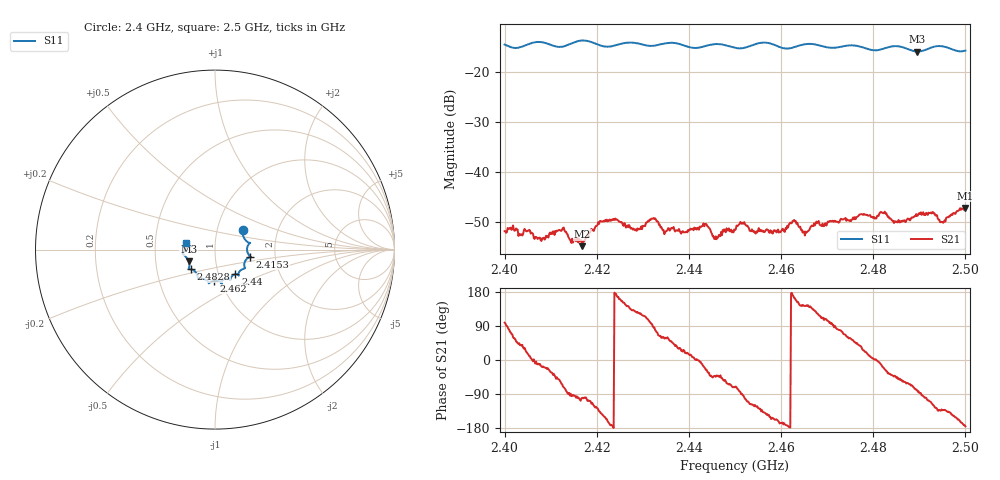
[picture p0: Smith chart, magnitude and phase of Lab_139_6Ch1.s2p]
# Hz S RI R 50
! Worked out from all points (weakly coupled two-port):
!   601 points, 2.4 GHz to 2.5 GHz, reference 50 ohm
!   highest |S21| = -47.11 dB at 2.5 GHz (marker M1); lowest = -54.7 dB at 2.4168 GHz (marker M2)
!   lowest |S11| = -15.9 dB at 2.4895 GHz (marker M3), VSWR 1.38, Z = 37 - j5 ohm
!   |S11| at or under -10 dB: start of sweep to end of sweep
!   S12 and S22 are empty: the file has one direction only
!   S11 on the Smith chart (normalised r, x): 2.4 GHz: 1.33, +0.29; 2.4153 GHz: 1.48, -0.12; 2.44 GHz: 1.21, -0.34; 2.462 GHz: 0.93, -0.33; 2.4828 GHz: 0.74, -0.17; 2.5 GHz: 0.72, +0.06
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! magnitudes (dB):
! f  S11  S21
! 2.4 GHz  -14.5  -51.7
! 2.4083 GHz  -14.1  -53.2
! 2.4123 GHz  -14.9  -51.7
! 2.4153 GHz  -14.0  -53.4
! 2.4167 GHz  -13.7  -53.6
! 2.4168 GHz  -13.7  -54.7
! 2.4212 GHz  -14.8  -49.8
! 2.4287 GHz  -14.2  -51.7
! 2.4333 GHz  -14.6  -49.9
! 2.44 GHz  -15.0  -51.6
! 2.4437 GHz  -14.8  -50.3
! 2.4458 GHz  -14.4  -52.8
! 2.45 GHz  -15.1  -51.5
! 2.4595 GHz  -14.9  -52.0
! 2.462 GHz  -15.2  -50.0
! 2.4652 GHz  -14.4  -52.6
! 2.4667 GHz  -14.4  -50.6
! 2.4828 GHz  -15.1  -48.2
! 2.4833 GHz  -15.0  -48.8
! 2.4895 GHz  -15.9  -48.7
! 2.4952 GHz  -14.9  -50.1
! 2.5 GHz  -15.7  -47.1
